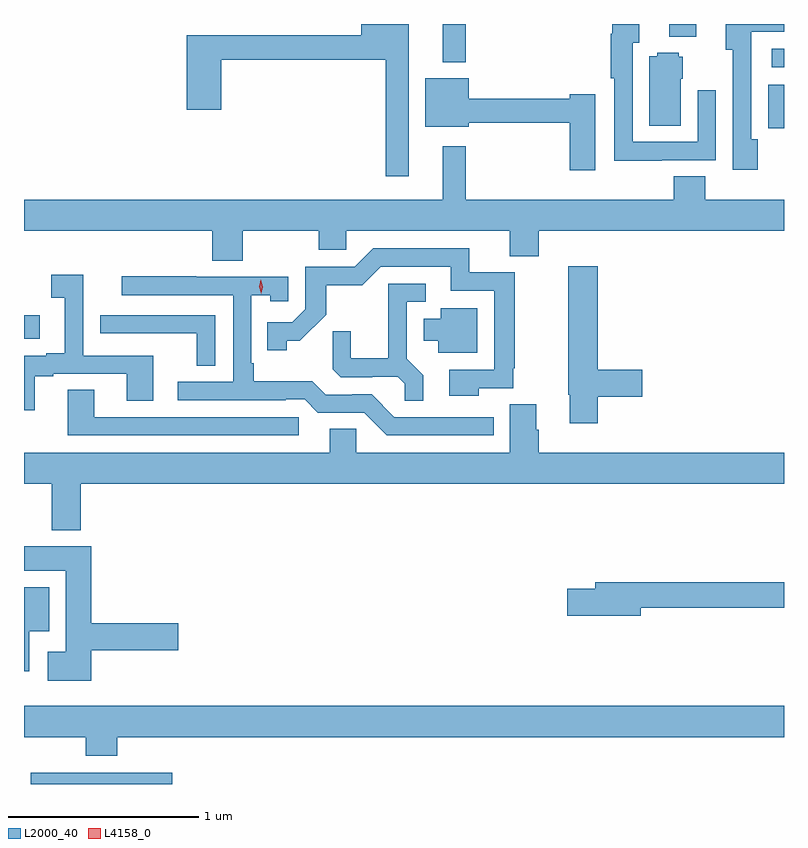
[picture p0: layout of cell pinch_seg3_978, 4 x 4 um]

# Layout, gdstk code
import gdstk
lib = gdstk.Library(unit=1e-6, precision=1e-09)
def R(c, l, rs):  # rectangles x0, y0, x1, y1
    for r in rs: c.add(gdstk.rectangle(r[:2], r[2:], *l))
def P(c, l, *ps):  # polygons
    for p in ps: c.add(gdstk.Polygon(p, *l))
L2000_40 = (2000, 40)
L4158_0 = (4158, 0)

pinch_seg3_978 = lib.new_cell('pinch_seg3_978')
R(pinch_seg3_978, L2000_40, [(448.449,741.961,449.194,742.02), (448.414,744.305,448.498,744.429), (452.33,745.413,452.414,745.641), (452.349,745.734,452.414,745.83), (450.617,745.76,450.739,745.961), (451.811,745.895,451.951,745.961)])
P(pinch_seg3_978, L2000_40, [(452.275,745.354),(452.241,745.354),(452.241,745.92),(452.414,745.92),(452.414,745.961),(452.108,745.961),(452.108,745.826),(452.145,745.826),(452.145,745.194),(452.275,745.194)],
  [(451.771,745.245),(452.055,745.245),(452.055,745.612),(451.959,745.612),(451.959,745.341),(451.617,745.341),(451.617,745.862),(451.651,745.862),(451.651,745.961),(451.509,745.961),(451.509,745.91),(451.501,745.91),(451.501,745.675),(451.521,745.675),(451.521,745.241),(451.771,745.241)],
  [(450.439,745.961),(450.188,745.961),(450.188,745.903),(449.27,745.903),(449.27,745.509),(449.453,745.509),(449.453,745.774),(450.318,745.774),(450.318,745.161),(450.439,745.161)],
  [(451.87,745.674),(451.882,745.674),(451.882,745.788),(451.86,745.788),(451.86,745.81),(451.746,745.81),(451.746,745.792),(451.706,745.792),(451.706,745.426),(451.87,745.426)],
  [(451.42,745.592),(451.286,745.592),(451.286,745.568),(450.754,745.568),(450.754,745.675),(450.527,745.675),(450.527,745.421),(450.754,745.421),(450.754,745.44),(451.286,745.44),(451.286,745.191),(451.42,745.191)],
  [(450.971,744.739),(451.124,744.739),(451.124,744.872),(452.414,744.872),(452.414,745.036),(452,745.036),(452,745.16),(451.835,745.16),(451.835,745.036),(450.739,745.036),(450.739,745.318),(450.617,745.318),(450.617,745.036),(448.414,745.036),(448.414,744.872),(449.405,744.872),(449.405,744.715),(449.565,744.715),(449.565,744.872),(449.965,744.872),(449.965,744.774),(450.111,744.774),(450.111,744.872),(450.971,744.872)],
  [(450.807,744.045),(450.989,744.045),(450.989,744.148),(450.997,744.148),(450.997,744.654),(450.758,744.654),(450.758,744.78),(450.252,744.78),(450.156,744.684),(449.895,744.684),(449.895,744.459),(449.826,744.39),(449.695,744.39),(449.695,744.243),(449.796,744.243),(449.796,744.293),(449.866,744.293),(450.004,744.43),(450.004,744.586),(450.193,744.586),(450.291,744.684),(450.659,744.684),(450.659,744.558),(450.888,744.558),(450.888,744.141),(450.651,744.141),(450.651,744.005),(450.807,744.005)],
  [(451.433,743.998),(451.669,743.998),(451.669,744.14),(451.433,744.14),(451.433,744.685),(451.279,744.685),(451.279,744.009),(451.286,744.009),(451.286,743.859),(451.433,743.859)],
  [(448.471,744.108),(448.567,744.108),(448.567,744.12),(448.955,744.12),(448.955,743.977),(449.095,743.977),(449.095,744.216),(448.725,744.216),(448.725,744.64),(448.557,744.64),(448.557,744.52),(448.628,744.52),(448.628,744.229),(448.532,744.229),(448.532,744.216),(448.414,744.216),(448.414,743.928),(448.471,743.928)],
  [(450.886,743.892),(450.363,743.892),(450.243,744.012),(450.142,744.012),(450.142,744.009),(450.003,744.009),(449.93,744.082),(449.623,744.082),(449.623,744.175),(449.61,744.175),(449.61,744.533),(449.709,744.533),(449.709,744.501),(449.805,744.501),(449.805,744.63),(449.321,744.63),(449.321,744.633),(448.929,744.633),(448.929,744.534),(449.514,744.534),(449.514,744.078),(449.223,744.078),(449.223,743.982),(449.792,743.982),(449.792,743.985),(449.892,743.985),(449.961,743.916),(450.204,743.916),(450.324,743.796),(450.886,743.796)],
  [(450.515,744.113),(450.429,744.199),(450.429,744.498),(450.529,744.498),(450.529,744.594),(450.332,744.594),(450.332,744.202),(450.134,744.202),(450.134,744.345),(450.04,744.345),(450.04,744.143),(450.081,744.102),(450.246,744.102),(450.246,744.105),(450.38,744.105),(450.417,744.068),(450.417,743.977),(450.515,743.977)],
  [(450.799,744.466),(450.608,744.466),(450.608,744.409),(450.518,744.409),(450.518,744.293),(450.593,744.293),(450.593,744.23),(450.799,744.23)],
  [(449.421,744.429),(448.815,744.429),(448.815,744.334),(448.927,744.334),(448.927,744.333),(449.323,744.333),(449.323,744.163),(449.421,744.163)],
  [(449.86,743.892),(448.783,743.892),(448.783,744.035),(448.643,744.035),(448.643,743.796),(449.86,743.796)],
  [(448.712,743.54),(452.414,743.54),(452.414,743.704),(451.124,743.704),(451.124,743.826),(451.111,743.826),(451.111,743.96),(450.971,743.96),(450.971,743.704),(450.162,743.704),(450.162,743.831),(450.023,743.831),(450.023,743.704),(448.414,743.704),(448.414,743.54),(448.559,743.54),(448.559,743.297),(448.712,743.297)],
  [(448.769,742.666),(449.227,742.666),(449.227,742.808),(448.769,742.808),(448.769,743.212),(448.414,743.212),(448.414,743.084),(448.634,743.084),(448.634,742.657),(448.539,742.657),(448.539,742.505),(448.769,742.505)],
  [(451.66,742.888),(452.414,742.888),(452.414,743.024),(451.421,743.024),(451.421,742.988),(451.272,742.988),(451.272,742.846),(451.66,742.846)],
  [(448.441,742.766),(448.546,742.766),(448.546,742.996),(448.414,742.996),(448.414,742.554),(448.441,742.554)],
  [(448.904,742.208),(452.414,742.208),(452.414,742.372),(448.414,742.372),(448.414,742.208),(448.739,742.208),(448.739,742.109),(448.904,742.109)])
P(pinch_seg3_978, L4158_0, [(449.663,744.542),(449.662,744.543),(449.651,744.578),(449.66,744.615),(449.66,744.615),(449.66,744.615),(449.671,744.579),(449.663,744.543)])

lib.write_gds('pinch_seg3_978.gds')
